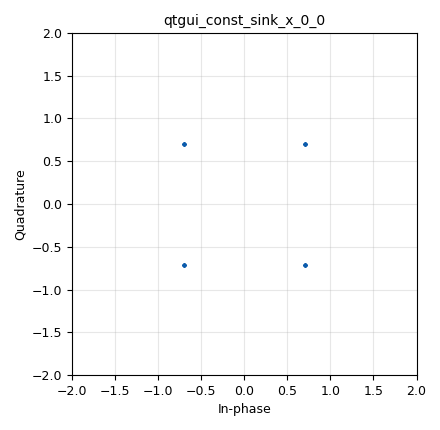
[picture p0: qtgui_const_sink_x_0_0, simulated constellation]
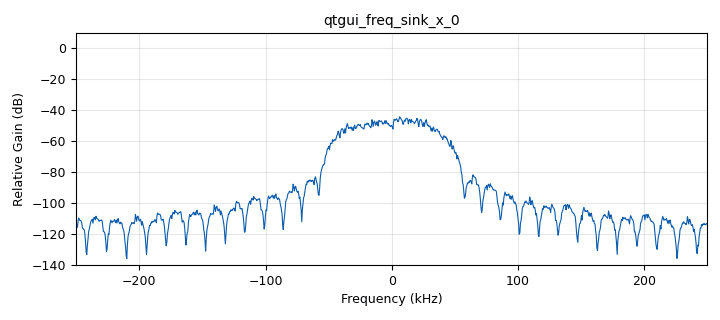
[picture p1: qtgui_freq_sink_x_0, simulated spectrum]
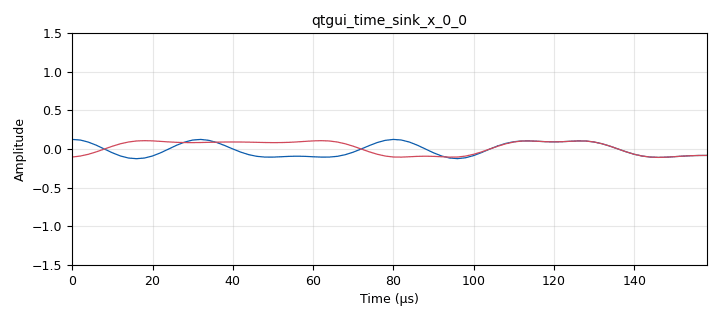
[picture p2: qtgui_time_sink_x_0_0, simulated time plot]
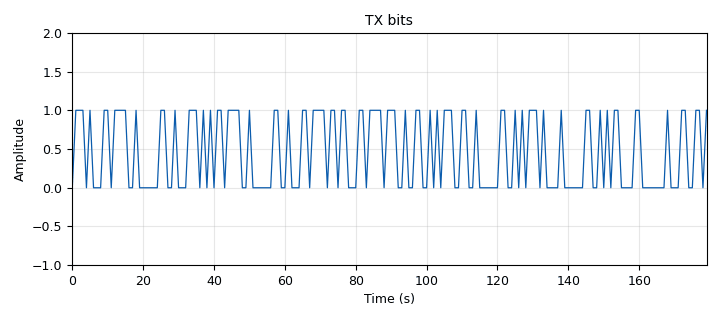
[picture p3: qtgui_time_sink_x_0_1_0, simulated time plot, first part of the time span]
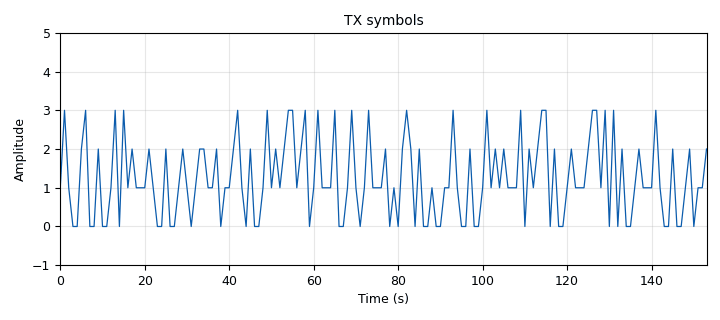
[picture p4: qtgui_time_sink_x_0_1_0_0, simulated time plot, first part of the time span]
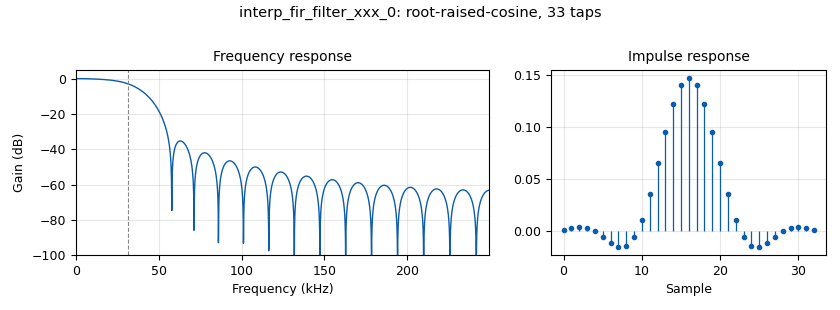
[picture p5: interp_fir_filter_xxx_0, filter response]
<?xml version='1.0' encoding='utf-8'?>
<?grc format='1' created='3.7.10'?>
<flow_graph>
<block>
<key>options</key>
<param><key>id</key><value>transceiver</value></param>
<param><key>generate_options</key><value>qt_gui</value></param>
<param><key>title</key><value>Transceiver</value></param>
</block>
<block>
<key>variable_constellation</key>
<param><key>id</key><value>constellation</value></param>
<param><key>type</key><value>dqpsk</value></param>
<param><key>precision</key><value>8</value></param>
</block>
<block>
<key>variable</key>
<param><key>id</key><value>frame_len_symbols</value></param>
<param><key>value</key><value>(payload_bytes + 4 + len(preamble_decimal))*8/constellation.bits_per_symbol()</value></param>
</block>
<block>
<key>variable_qtgui_range</key>
<param><key>id</key><value>freq_offset_slider</value></param>
<param><key>value</key><value>0</value></param>
<param><key>gui_hint</key><value>0,1,1,1</value></param>
<param><key>label</key><value>frequency offset</value></param>
<param><key>orient</key><value>Qt.Horizontal</value></param>
<param><key>start</key><value>-samp_rate/sps/2</value></param>
<param><key>step</key><value>samp_rate/sps/50</value></param>
<param><key>stop</key><value>samp_rate/sps/2</value></param>
</block>
<block>
<key>variable</key>
<param><key>id</key><value>nfft</value></param>
<param><key>value</key><value>512</value></param>
</block>
<block>
<key>variable</key>
<param><key>id</key><value>preamble_binary</value></param>
<param><key>value</key><value>''.join(["{0:08b}".format(i) for i in preamble_decimal[:4]])</value></param>
</block>
<block>
<key>variable</key>
<param><key>id</key><value>preamble_decimal</value></param>
<param><key>value</key><value>preamble_decimal_prbs</value></param>
</block>
<block>
<key>variable</key>
<param><key>id</key><value>preamble_decimal_prbs</value></param>
<param><key>value</key><value>104, 34, 59, 178, 138, 21, 94, 227, 104, 34, 59, 178, 17, 150, 5, 202, 254, 57, 65, 119, (payload_bytes+4)/256, (payload_bytes +4) % 256, (payload_bytes+4)/256, (payload_bytes +4) % 256</value></param>
</block>
<block>
<key>variable</key>
<param><key>id</key><value>preamble_decimal_test</value></param>
<param><key>value</key><value>np.random.randint(0, 256, 100)</value></param>
</block>
<block>
<key>variable</key>
<param><key>id</key><value>preamble_symbolindex</value></param>
<param><key>value</key><value>[int(preamble_binary[x:x+constellation.bits_per_symbol()], base=2) for x in range(0, len(preamble_binary), constellation.bits_per_symbol())]</value></param>
</block>
<block>
<key>variable_rrc_filter_taps</key>
<param><key>id</key><value>pulse_shape</value></param>
<param><key>alpha</key><value>rolloff</value></param>
<param><key>gain</key><value>1.0</value></param>
<param><key>ntaps</key><value>4*sps</value></param>
<param><key>samp_rate</key><value>samp_rate</value></param>
<param><key>sym_rate</key><value>samp_rate/sps</value></param>
</block>
<block>
<key>variable</key>
<param><key>id</key><value>rolloff</value></param>
<param><key>value</key><value>0.7</value></param>
</block>
<block>
<key>variable_qtgui_range</key>
<param><key>id</key><value>rx_gain_slider</value></param>
<param><key>value</key><value>0.7</value></param>
<param><key>gui_hint</key><value>0,2,1,1</value></param>
<param><key>label</key><value>RX gain</value></param>
<param><key>orient</key><value>Qt.Horizontal</value></param>
<param><key>start</key><value>0</value></param>
<param><key>step</key><value>.1</value></param>
<param><key>stop</key><value>1</value></param>
</block>
<block>
<key>variable</key>
<param><key>id</key><value>samp_rate</value></param>
<param><key>value</key><value>500e3</value></param>
</block>
<block>
<key>variable_qtgui_range</key>
<param><key>id</key><value>tx_gain_slider</value></param>
<param><key>value</key><value>0.6</value></param>
<param><key>gui_hint</key><value>0,0,1,1</value></param>
<param><key>label</key><value>TX gain</value></param>
<param><key>orient</key><value>Qt.Horizontal</value></param>
<param><key>start</key><value>0</value></param>
<param><key>step</key><value>0.1</value></param>
<param><key>stop</key><value>1</value></param>
</block>
<block>
<key>analog_random_source_x</key>
<param><key>id</key><value>analog_random_source_x_0</value></param>
<param><key>_enabled</key><value>0</value></param>
<param><key>max</key><value>256</value></param>
<param><key>min</key><value>0</value></param>
<param><key>num_samps</key><value>payload_bytes</value></param>
<param><key>type</key><value>byte</value></param>
<param><key>repeat</key><value>True</value></param>
</block>
<block>
<key>analog_sig_source_x</key>
<param><key>id</key><value>analog_sig_source_x_0</value></param>
<param><key>amp</key><value>1</value></param>
<param><key>freq</key><value>freq_offset_slider</value></param>
<param><key>offset</key><value>0</value></param>
<param><key>type</key><value>complex</value></param>
<param><key>samp_rate</key><value>samp_rate</value></param>
<param><key>waveform</key><value>analog.GR_COS_WAVE</value></param>
</block>
<block>
<key>blocks_int_to_float</key>
<param><key>id</key><value>blocks_int_to_float_0</value></param>
<param><key>scale</key><value>1</value></param>
</block>
<block>
<key>blocks_multiply_xx</key>
<param><key>id</key><value>blocks_multiply_xx_0</value></param>
<param><key>type</key><value>complex</value></param>
</block>
<block>
<key>blocks_packed_to_unpacked_xx</key>
<param><key>id</key><value>blocks_packed_to_unpacked_xx_0</value></param>
<param><key>bits_per_chunk</key><value>1</value></param>
<param><key>endianness</key><value>gr.GR_MSB_FIRST</value></param>
<param><key>type</key><value>byte</value></param>
</block>
<block>
<key>blocks_repack_bits_bb</key>
<param><key>id</key><value>blocks_repack_bits_bb_0</value></param>
<param><key>k</key><value>1</value></param>
<param><key>l</key><value>constellation.bits_per_symbol()</value></param>
<param><key>endianness</key><value>gr.GR_MSB_FIRST</value></param>
</block>
<block>
<key>blocks_stream_to_tagged_stream</key>
<param><key>id</key><value>blocks_stream_to_tagged_stream_0</value></param>
<param><key>len_tag_key</key><value>"packet_len"</value></param>
<param><key>packet_len</key><value>payload_bytes</value></param>
<param><key>type</key><value>byte</value></param>
</block>
<block>
<key>blocks_stream_to_tagged_stream</key>
<param><key>id</key><value>blocks_stream_to_tagged_stream_1</value></param>
<param><key>len_tag_key</key><value>"packet_len"</value></param>
<param><key>packet_len</key><value>payload_bytes + 4</value></param>
<param><key>type</key><value>byte</value></param>
</block>
<block>
<key>blocks_uchar_to_float</key>
<param><key>id</key><value>blocks_uchar_to_float_0</value></param>
</block>
<block>
<key>blocks_uchar_to_float</key>
<param><key>id</key><value>blocks_uchar_to_float_0_0</value></param>
</block>
<block>
<key>blocks_uchar_to_float</key>
<param><key>id</key><value>blocks_uchar_to_float_0_0_0</value></param>
</block>
<block>
<key>blocks_uchar_to_float</key>
<param><key>id</key><value>blocks_uchar_to_float_0_0_0_0</value></param>
</block>
<block>
<key>blocks_uchar_to_float</key>
<param><key>id</key><value>blocks_uchar_to_float_0_0_1</value></param>
</block>
<block>
<key>blocks_unpack_k_bits_bb</key>
<param><key>id</key><value>blocks_unpack_k_bits_bb_0</value></param>
<param><key>k</key><value>constellation.bits_per_symbol()</value></param>
</block>
<block>
<key>blocks_unpacked_to_packed_xx</key>
<param><key>id</key><value>blocks_unpacked_to_packed_xx_0</value></param>
<param><key>bits_per_chunk</key><value>1</value></param>
<param><key>endianness</key><value>gr.GR_MSB_FIRST</value></param>
<param><key>type</key><value>byte</value></param>
</block>
<block>
<key>blocks_vector_insert_x</key>
<param><key>id</key><value>blocks_vector_insert_x_0</value></param>
<param><key>offset</key><value>0</value></param>
<param><key>type</key><value>byte</value></param>
<param><key>period</key><value>payload_bytes + 4 + len(preamble_decimal)</value></param>
<param><key>vector</key><value>preamble_decimal</value></param>
</block>
<block>
<key>blocks_vector_insert_x</key>
<param><key>id</key><value>blocks_vector_insert_x_1</value></param>
<param><key>offset</key><value>int(gap*frame_len_symbols)</value></param>
<param><key>type</key><value>complex</value></param>
<param><key>period</key><value>frame_len_symbols + int(gap*frame_len_symbols)</value></param>
<param><key>vector</key><value>np.zeros(int(gap*frame_len_symbols))</value></param>
</block>
<block>
<key>blocks_vector_source_x</key>
<param><key>id</key><value>blocks_vector_source_x_0</value></param>
<param><key>type</key><value>byte</value></param>
<param><key>repeat</key><value>True</value></param>
<param><key>vector</key><value>[ord(i) for i in text]</value></param>
</block>
<block>
<key>digital_chunks_to_symbols_xx</key>
<param><key>id</key><value>digital_chunks_to_symbols_xx_0</value></param>
<param><key>dimension</key><value>1</value></param>
<param><key>in_type</key><value>byte</value></param>
<param><key>out_type</key><value>complex</value></param>
<param><key>symbol_table</key><value>constellation.points()</value></param>
</block>
<block>
<key>digital_constellation_decoder_cb</key>
<param><key>id</key><value>digital_constellation_decoder_cb_0</value></param>
<param><key>constellation</key><value>constellation</value></param>
</block>
<block>
<key>digital_correlate_access_code_xx_ts</key>
<param><key>id</key><value>digital_correlate_access_code_xx_ts_0</value></param>
<param><key>access_code</key><value>''.join(["{0:08b}".format(i) for i in preamble_decimal[16:20]])</value></param>
<param><key>type</key><value>byte</value></param>
<param><key>tagname</key><value>"frame_start"</value></param>
<param><key>threshold</key><value>0</value></param>
</block>
<block>
<key>digital_costas_loop_cc</key>
<param><key>id</key><value>digital_costas_loop_cc_0</value></param>
<param><key>w</key><value>2*np.pi/1000</value></param>
<param><key>order</key><value>len(constellation.points())</value></param>
</block>
<block>
<key>digital_crc32_bb</key>
<param><key>id</key><value>digital_crc32_bb_0</value></param>
<param><key>lengthtagname</key><value>"packet_len"</value></param>
<param><key>check</key><value>False</value></param>
<param><key>packed</key><value>True</value></param>
</block>
<block>
<key>digital_crc32_bb</key>
<param><key>id</key><value>digital_crc32_bb_0_0</value></param>
<param><key>lengthtagname</key><value>"packet_len"</value></param>
<param><key>check</key><value>True</value></param>
<param><key>packed</key><value>True</value></param>
</block>
<block>
<key>digital_diff_decoder_bb</key>
<param><key>id</key><value>digital_diff_decoder_bb_0</value></param>
<param><key>modulus</key><value>len(constellation.points())</value></param>
</block>
<block>
<key>digital_diff_encoder_bb</key>
<param><key>id</key><value>digital_diff_encoder_bb_0</value></param>
<param><key>modulus</key><value>len(constellation.points())</value></param>
</block>
<block>
<key>digital_fll_band_edge_cc</key>
<param><key>id</key><value>digital_fll_band_edge_cc_0</value></param>
<param><key>rolloff</key><value>rolloff</value></param>
<param><key>w</key><value>2*np.pi/1000</value></param>
<param><key>filter_size</key><value>len(pulse_shape)</value></param>
<param><key>samps_per_sym</key><value>sps</value></param>
<param><key>type</key><value>cc</value></param>
</block>
<block>
<key>parameter</key>
<param><key>id</key><value>gap</value></param>
<param><key>label</key><value>gap</value></param>
<param><key>type</key><value>eng_float</value></param>
<param><key>value</key><value>0</value></param>
</block>
<block>
<key>import</key>
<param><key>id</key><value>import_0</value></param>
<param><key>import</key><value>from gnuradio import filter</value></param>
</block>
<block>
<key>import</key>
<param><key>id</key><value>import_np</value></param>
<param><key>import</key><value>import numpy as np</value></param>
</block>
<block>
<key>interp_fir_filter_xxx</key>
<param><key>id</key><value>interp_fir_filter_xxx_0</value></param>
<param><key>interp</key><value>sps</value></param>
<param><key>taps</key><value>pulse_shape</value></param>
<param><key>type</key><value>ccf</value></param>
</block>
<block>
<key>interp_fir_filter_xxx</key>
<param><key>id</key><value>interp_fir_filter_xxx_1</value></param>
<param><key>interp</key><value>1</value></param>
<param><key>taps</key><value>pulse_shape</value></param>
<param><key>type</key><value>ccf</value></param>
</block>
<block>
<key>parameter</key>
<param><key>id</key><value>payload_bytes</value></param>
<param><key>type</key><value>intx</value></param>
<param><key>value</key><value>64</value></param>
</block>
<block>
<key>qtgui_const_sink_x</key>
<param><key>id</key><value>qtgui_const_sink_x_0</value></param>
<param><key>gui_hint</key><value>tab@3:0,0,1,1</value></param>
<param><key>alpha1</key><value>0.5</value></param>
<param><key>size</key><value>128</value></param>
<param><key>type</key><value>complex</value></param>
</block>
<block>
<key>qtgui_const_sink_x</key>
<param><key>id</key><value>qtgui_const_sink_x_0_0</value></param>
<param><key>gui_hint</key><value>tab@0:0,2,1,1</value></param>
<param><key>alpha1</key><value>0.5</value></param>
<param><key>size</key><value>128</value></param>
<param><key>type</key><value>complex</value></param>
</block>
<block>
<key>qtgui_const_sink_x</key>
<param><key>id</key><value>qtgui_const_sink_x_1</value></param>
<param><key>gui_hint</key><value>tab@4:0,0,1,1</value></param>
<param><key>alpha1</key><value>0.5</value></param>
<param><key>size</key><value>256</value></param>
<param><key>type</key><value>complex</value></param>
</block>
<block>
<key>qtgui_freq_sink_x</key>
<param><key>id</key><value>qtgui_freq_sink_x_0</value></param>
<param><key>average</key><value>0.1</value></param>
<param><key>bw</key><value>samp_rate</value></param>
<param><key>fc</key><value>0</value></param>
<param><key>fftsize</key><value>1024</value></param>
<param><key>gui_hint</key><value>tab@0:0,1,1,1</value></param>
<param><key>showports</key><value>True</value></param>
<param><key>type</key><value>complex</value></param>
<param><key>wintype</key><value>firdes.WIN_BLACKMAN_hARRIS</value></param>
</block>
<block>
<key>qtgui_freq_sink_x</key>
<param><key>id</key><value>qtgui_freq_sink_x_0_1</value></param>
<param><key>average</key><value>0.1</value></param>
<param><key>bw</key><value>samp_rate</value></param>
<param><key>fc</key><value>0</value></param>
<param><key>fftsize</key><value>1024</value></param>
<param><key>gui_hint</key><value>tab@2:0,1,1,1</value></param>
<param><key>name</key><value>"After correction"</value></param>
<param><key>showports</key><value>True</value></param>
<param><key>type</key><value>complex</value></param>
<param><key>wintype</key><value>firdes.WIN_BLACKMAN_hARRIS</value></param>
</block>
<block>
<key>qtgui_freq_sink_x</key>
<param><key>id</key><value>qtgui_freq_sink_x_0_1_0</value></param>
<param><key>average</key><value>0.1</value></param>
<param><key>bw</key><value>nfft</value></param>
<param><key>fc</key><value>0</value></param>
<param><key>fftsize</key><value>nfft</value></param>
<param><key>gui_hint</key><value>tab@3:0,1,1,1</value></param>
<param><key>showports</key><value>True</value></param>
<param><key>type</key><value>float</value></param>
<param><key>wintype</key><value>firdes.WIN_BLACKMAN_hARRIS</value></param>
</block>
<block>
<key>qtgui_freq_sink_x</key>
<param><key>id</key><value>qtgui_freq_sink_x_0_1_1</value></param>
<param><key>average</key><value>0.1</value></param>
<param><key>bw</key><value>samp_rate</value></param>
<param><key>fc</key><value>0</value></param>
<param><key>fftsize</key><value>1024</value></param>
<param><key>gui_hint</key><value>tab@2:0,0,1,1</value></param>
<param><key>name</key><value>"Before correction"</value></param>
<param><key>showports</key><value>True</value></param>
<param><key>type</key><value>complex</value></param>
<param><key>wintype</key><value>firdes.WIN_BLACKMAN_hARRIS</value></param>
</block>
<block>
<key>qtgui_time_sink_x</key>
<param><key>id</key><value>qtgui_time_sink_x_0</value></param>
<param><key>gui_hint</key><value>tab@5:2,0,1,2</value></param>
<param><key>color1</key><value>"blue"</value></param>
<param><key>label1</key><value></value></param>
<param><key>name</key><value>"RX bits out"</value></param>
<param><key>size</key><value>(payload_bytes+4)*8</value></param>
<param><key>srate</key><value>1</value></param>
<param><key>tr_tag</key><value></value></param>
<param><key>type</key><value>float</value></param>
<param><key>ymax</key><value>2</value></param>
</block>
<block>
<key>qtgui_time_sink_x</key>
<param><key>id</key><value>qtgui_time_sink_x_0_0</value></param>
<param><key>gui_hint</key><value>tab@0:0,0,1,1</value></param>
<param><key>legend</key><value>False</value></param>
<param><key>color1</key><value>"blue"</value></param>
<param><key>label1</key><value></value></param>
<param><key>color2</key><value>"red"</value></param>
<param><key>label2</key><value></value></param>
<param><key>size</key><value>sps*10</value></param>
<param><key>srate</key><value>samp_rate</value></param>
<param><key>tr_level</key><value>1.0</value></param>
<param><key>type</key><value>complex</value></param>
<param><key>ymax</key><value>1.5</value></param>
<param><key>ymin</key><value>-1.5</value></param>
</block>
<block>
<key>qtgui_time_sink_x</key>
<param><key>id</key><value>qtgui_time_sink_x_0_0_0</value></param>
<param><key>gui_hint</key><value>tab@1:0,0,1,1</value></param>
<param><key>legend</key><value>False</value></param>
<param><key>color1</key><value>"blue"</value></param>
<param><key>label1</key><value></value></param>
<param><key>color2</key><value>"red"</value></param>
<param><key>label2</key><value></value></param>
<param><key>size</key><value>sps*10</value></param>
<param><key>srate</key><value>samp_rate</value></param>
<param><key>tr_level</key><value>1.0</value></param>
<param><key>type</key><value>complex</value></param>
<param><key>ymax</key><value>1.5</value></param>
<param><key>ymin</key><value>-1.5</value></param>
</block>
<block>
<key>qtgui_time_sink_x</key>
<param><key>id</key><value>qtgui_time_sink_x_0_1</value></param>
<param><key>gui_hint</key><value>tab@5:0,1,1,1</value></param>
<param><key>color1</key><value>"blue"</value></param>
<param><key>label1</key><value></value></param>
<param><key>name</key><value>"RX bits in"</value></param>
<param><key>size</key><value>(frame_len_symbols+int(gap*frame_len_symbols))*constellation.bits_per_symbol()</value></param>
<param><key>srate</key><value>1</value></param>
<param><key>tr_tag</key><value>"frame_start"</value></param>
<param><key>type</key><value>float</value></param>
<param><key>ymax</key><value>2</value></param>
</block>
<block>
<key>qtgui_time_sink_x</key>
<param><key>id</key><value>qtgui_time_sink_x_0_1_0</value></param>
<param><key>gui_hint</key><value>tab@5:0,0,1,1</value></param>
<param><key>color1</key><value>"blue"</value></param>
<param><key>label1</key><value></value></param>
<param><key>name</key><value>"TX bits"</value></param>
<param><key>size</key><value>frame_len_symbols*constellation.bits_per_symbol()</value></param>
<param><key>srate</key><value>1</value></param>
<param><key>tr_tag</key><value>"frame_start"</value></param>
<param><key>type</key><value>float</value></param>
<param><key>ymax</key><value>2</value></param>
</block>
<block>
<key>qtgui_time_sink_x</key>
<param><key>id</key><value>qtgui_time_sink_x_0_1_0_0</value></param>
<param><key>gui_hint</key><value>tab@5:1,0,1,1</value></param>
<param><key>color1</key><value>"blue"</value></param>
<param><key>label1</key><value></value></param>
<param><key>name</key><value>"TX symbols"</value></param>
<param><key>size</key><value>frame_len_symbols</value></param>
<param><key>srate</key><value>1</value></param>
<param><key>tr_tag</key><value>"frame_start"</value></param>
<param><key>type</key><value>float</value></param>
<param><key>ymax</key><value>len(constellation.points())+1</value></param>
</block>
<block>
<key>qtgui_time_sink_x</key>
<param><key>id</key><value>qtgui_time_sink_x_0_1_1</value></param>
<param><key>gui_hint</key><value>tab@5:1,1,1,1</value></param>
<param><key>color1</key><value>"blue"</value></param>
<param><key>label1</key><value></value></param>
<param><key>name</key><value>"RX symbols in"</value></param>
<param><key>size</key><value>(frame_len_symbols+int(gap*frame_len_symbols))</value></param>
<param><key>srate</key><value>1</value></param>
<param><key>tr_tag</key><value>"frame_start"</value></param>
<param><key>type</key><value>float</value></param>
<param><key>ymax</key><value>len(constellation.points()) + 1</value></param>
</block>
<block>
<key>qtgui_time_sink_x</key>
<param><key>id</key><value>qtgui_time_sink_x_1</value></param>
<param><key>gui_hint</key><value>tab@3:1,1,1,1</value></param>
<param><key>color1</key><value>"blue"</value></param>
<param><key>label1</key><value></value></param>
<param><key>name</key><value>"Phase of 1/T bin"</value></param>
<param><key>size</key><value>10000</value></param>
<param><key>srate</key><value>samp_rate/nfft</value></param>
<param><key>type</key><value>float</value></param>
<param><key>ymax</key><value>2*np.pi</value></param>
<param><key>ymin</key><value>-2*np.pi</value></param>
</block>
<block>
<key>qtgui_time_sink_x</key>
<param><key>id</key><value>qtgui_time_sink_x_1_0</value></param>
<param><key>gui_hint</key><value>tab@3:1,0,1,1</value></param>
<param><key>color1</key><value>"blue"</value></param>
<param><key>label1</key><value></value></param>
<param><key>name</key><value>"Index"</value></param>
<param><key>size</key><value>10000</value></param>
<param><key>srate</key><value>samp_rate/nfft</value></param>
<param><key>type</key><value>float</value></param>
<param><key>ymax</key><value>sps</value></param>
</block>
<block>
<key>qtgui_waterfall_sink_x</key>
<param><key>id</key><value>qtgui_waterfall_sink_x_0</value></param>
<param><key>bw</key><value>samp_rate</value></param>
<param><key>fc</key><value>0</value></param>
<param><key>fftsize</key><value>1024</value></param>
<param><key>gui_hint</key><value>tab@1:0,1,1,1</value></param>
<param><key>showports</key><value>True</value></param>
<param><key>type</key><value>complex</value></param>
<param><key>wintype</key><value>firdes.WIN_BLACKMAN_hARRIS</value></param>
</block>
<block>
<key>parameter</key>
<param><key>id</key><value>sps</value></param>
<param><key>label</key><value>samples per symbol</value></param>
<param><key>type</key><value>intx</value></param>
<param><key>value</key><value>8</value></param>
</block>
<block>
<key>square_timing_recovery</key>
<param><key>id</key><value>square_timing_recovery_0</value></param>
<param><key>nfft</key><value>nfft</value></param>
<param><key>sps</key><value>sps</value></param>
</block>
<block>
<key>qtgui_tab_widget</key>
<param><key>id</key><value>tab</value></param>
<param><key>gui_hint</key><value>1,0,1,3</value></param>
<param><key>label0</key><value>TX</value></param>
<param><key>label1</key><value>RX</value></param>
<param><key>label2</key><value>Frequency Synchronization</value></param>
<param><key>label3</key><value>Timing Synchronization</value></param>
<param><key>label4</key><value>Phase Synchronization</value></param>
<param><key>label5</key><value>Data</value></param>
<param><key>num_tabs</key><value>6</value></param>
</block>
<block>
<key>parameter</key>
<param><key>id</key><value>text</value></param>
<param><key>label</key><value>text</value></param>
<param><key>value</key><value>"Lorem ipsum dolor sit amet, consetetur sadipscing elitr, sed diam nonumy eirmod tempor invidunt ut labore et dolore magna aliquyam erat, sed diam voluptua. At vero eos et accusam et justo duo dolores et ea rebum. Stet clita kasd gubergren, no sea takimata sanctus est Lorem ipsum dolor sit amet. Lorem ipsum dolor sit amet, consetetur sadipscing elitr, sed diam nonumy eirmod tempor invidunt ut labore et dolore magna aliquyam erat, sed diam voluptua. At vero eos et accusam et justo duo dolores et ea rebum. Stet clita kasd gubergren, no sea takimata sanctus est Lorem ipsum dolor sit amet."</value></param>
</block>
<block>
<key>uhd_usrp_sink</key>
<param><key>id</key><value>uhd_usrp_sink_0</value></param>
<param><key>ant0</key><value>TX/RX</value></param>
<param><key>center_freq0</key><value>2.3e9</value></param>
<param><key>norm_gain0</key><value>True</value></param>
<param><key>gain0</key><value>tx_gain_slider</value></param>
<param><key>clock_rate</key><value>0.0</value></param>
<param><key>dev_addr</key><value>"serial=E5R04ZEBT"</value></param>
<param><key>dev_args</key><value>""</value></param>
<param><key>type</key><value>fc32</value></param>
<param><key>sd_spec0</key><value>A:A</value></param>
<param><key>samp_rate</key><value>samp_rate</value></param>
<param><key>hide_cmd_port</key><value>False</value></param>
<param><key>hide_lo_controls</key><value>True</value></param>
<param><key>sync</key><value></value></param>
<param><key>len_tag_name</key><value></value></param>
</block>
<block>
<key>uhd_usrp_source</key>
<param><key>id</key><value>uhd_usrp_source_0</value></param>
<param><key>ant0</key><value>RX2</value></param>
<param><key>center_freq0</key><value>2.3e9</value></param>
<param><key>dc_offs_enb0</key><value>""</value></param>
<param><key>iq_imbal_enb0</key><value>""</value></param>
<param><key>norm_gain0</key><value>True</value></param>
<param><key>gain0</key><value>rx_gain_slider</value></param>
<param><key>clock_rate</key><value>0.0</value></param>
<param><key>dev_addr</key><value>"serial=E5R04ZEBT"</value></param>
<param><key>dev_args</key><value>""</value></param>
<param><key>sd_spec0</key><value>A:B</value></param>
<param><key>type</key><value>fc32</value></param>
<param><key>samp_rate</key><value>samp_rate</value></param>
<param><key>hide_cmd_port</key><value>False</value></param>
<param><key>hide_lo_controls</key><value>True</value></param>
<param><key>sync</key><value></value></param>
</block>
<block>
<key>virtual_sink</key>
<param><key>id</key><value>virtual_sink_2</value></param>
<param><key>stream_id</key><value>freqsync</value></param>
</block>
<block>
<key>virtual_sink</key>
<param><key>id</key><value>virtual_sink_3</value></param>
<param><key>stream_id</key><value>timesync</value></param>
</block>
<block>
<key>virtual_sink</key>
<param><key>id</key><value>virtual_sink_4</value></param>
<param><key>stream_id</key><value>demod</value></param>
</block>
<block>
<key>virtual_source</key>
<param><key>id</key><value>virtual_source_2</value></param>
<param><key>stream_id</key><value>freqsync</value></param>
</block>
<block>
<key>virtual_source</key>
<param><key>id</key><value>virtual_source_3</value></param>
<param><key>stream_id</key><value>timesync</value></param>
</block>
<block>
<key>virtual_source</key>
<param><key>id</key><value>virtual_source_4</value></param>
<param><key>stream_id</key><value>demod</value></param>
</block>
<block>
<key>epy_block</key>
<param><key>id</key><value>write_to_console</value></param>
<param><key>_source_code</key><value>"""
Embedded Python Blocks:

Each time this file is saved, GRC will instantiate the first class it finds
to get ports and parameters of your block. The arguments to __init__  will
be the parameters. All of them are required to have default values!
"""

import numpy as np
from gnuradio import gr


class blk(gr.sync_block):  # other base classes are basic_block, decim_block, interp_block
    """Embedded Python Block example - a simple multiply const"""

    def __init__(self):  # only default arguments here
        """arguments to this function show up as parameters in GRC"""
        gr.sync_block.__init__(
            self,
            name='Print to console',   # will show up in GRC
            in_sig=[np.uint8], out_sig=None
        )

    def work(self, input_items, output_items):
        """example: multiply with constant"""
        print(''.join(chr(i) for i in input_items[0]))
        return len(input_items[0])
</value></param>
</block>
<connection><source_block_id>analog_random_source_x_0</source_block_id><sink_block_id>blocks_stream_to_tagged_stream_0</sink_block_id><source_key>0</source_key><sink_key>0</sink_key></connection>
<connection><source_block_id>analog_sig_source_x_0</source_block_id><sink_block_id>blocks_multiply_xx_0</sink_block_id><source_key>0</source_key><sink_key>0</sink_key></connection>
<connection><source_block_id>blocks_int_to_float_0</source_block_id><sink_block_id>qtgui_time_sink_x_1_0</sink_block_id><source_key>0</source_key><sink_key>0</sink_key></connection>
<connection><source_block_id>blocks_multiply_xx_0</source_block_id><sink_block_id>uhd_usrp_sink_0</sink_block_id><source_key>0</source_key><sink_key>0</sink_key></connection>
<connection><source_block_id>blocks_packed_to_unpacked_xx_0</source_block_id><sink_block_id>blocks_repack_bits_bb_0</sink_block_id><source_key>0</source_key><sink_key>0</sink_key></connection>
<connection><source_block_id>blocks_packed_to_unpacked_xx_0</source_block_id><sink_block_id>blocks_uchar_to_float_0_0_0</sink_block_id><source_key>0</source_key><sink_key>0</sink_key></connection>
<connection><source_block_id>blocks_repack_bits_bb_0</source_block_id><sink_block_id>blocks_uchar_to_float_0_0_0_0</sink_block_id><source_key>0</source_key><sink_key>0</sink_key></connection>
<connection><source_block_id>blocks_repack_bits_bb_0</source_block_id><sink_block_id>digital_diff_encoder_bb_0</sink_block_id><source_key>0</source_key><sink_key>0</sink_key></connection>
<connection><source_block_id>blocks_stream_to_tagged_stream_0</source_block_id><sink_block_id>digital_crc32_bb_0</sink_block_id><source_key>0</source_key><sink_key>0</sink_key></connection>
<connection><source_block_id>blocks_stream_to_tagged_stream_1</source_block_id><sink_block_id>digital_crc32_bb_0_0</sink_block_id><source_key>0</source_key><sink_key>0</sink_key></connection>
<connection><source_block_id>blocks_uchar_to_float_0</source_block_id><sink_block_id>qtgui_time_sink_x_0</sink_block_id><source_key>0</source_key><sink_key>0</sink_key></connection>
<connection><source_block_id>blocks_uchar_to_float_0_0</source_block_id><sink_block_id>qtgui_time_sink_x_0_1</sink_block_id><source_key>0</source_key><sink_key>0</sink_key></connection>
<connection><source_block_id>blocks_uchar_to_float_0_0_0</source_block_id><sink_block_id>qtgui_time_sink_x_0_1_0</sink_block_id><source_key>0</source_key><sink_key>0</sink_key></connection>
<connection><source_block_id>blocks_uchar_to_float_0_0_0_0</source_block_id><sink_block_id>qtgui_time_sink_x_0_1_0_0</sink_block_id><source_key>0</source_key><sink_key>0</sink_key></connection>
<connection><source_block_id>blocks_uchar_to_float_0_0_1</source_block_id><sink_block_id>qtgui_time_sink_x_0_1_1</sink_block_id><source_key>0</source_key><sink_key>0</sink_key></connection>
<connection><source_block_id>blocks_unpack_k_bits_bb_0</source_block_id><sink_block_id>blocks_uchar_to_float_0_0</sink_block_id><source_key>0</source_key><sink_key>0</sink_key></connection>
<connection><source_block_id>blocks_unpack_k_bits_bb_0</source_block_id><sink_block_id>digital_correlate_access_code_xx_ts_0</sink_block_id><source_key>0</source_key><sink_key>0</sink_key></connection>
<connection><source_block_id>blocks_unpacked_to_packed_xx_0</source_block_id><sink_block_id>blocks_stream_to_tagged_stream_1</sink_block_id><source_key>0</source_key><sink_key>0</sink_key></connection>
<connection><source_block_id>blocks_vector_insert_x_0</source_block_id><sink_block_id>blocks_packed_to_unpacked_xx_0</sink_block_id><source_key>0</source_key><sink_key>0</sink_key></connection>
<connection><source_block_id>blocks_vector_insert_x_1</source_block_id><sink_block_id>interp_fir_filter_xxx_0</sink_block_id><source_key>0</source_key><sink_key>0</sink_key></connection>
<connection><source_block_id>blocks_vector_source_x_0</source_block_id><sink_block_id>blocks_stream_to_tagged_stream_0</sink_block_id><source_key>0</source_key><sink_key>0</sink_key></connection>
<connection><source_block_id>digital_chunks_to_symbols_xx_0</source_block_id><sink_block_id>blocks_vector_insert_x_1</sink_block_id><source_key>0</source_key><sink_key>0</sink_key></connection>
<connection><source_block_id>digital_chunks_to_symbols_xx_0</source_block_id><sink_block_id>qtgui_const_sink_x_0_0</sink_block_id><source_key>0</source_key><sink_key>0</sink_key></connection>
<connection><source_block_id>digital_constellation_decoder_cb_0</source_block_id><sink_block_id>digital_diff_decoder_bb_0</sink_block_id><source_key>0</source_key><sink_key>0</sink_key></connection>
<connection><source_block_id>digital_correlate_access_code_xx_ts_0</source_block_id><sink_block_id>blocks_uchar_to_float_0</sink_block_id><source_key>0</source_key><sink_key>0</sink_key></connection>
<connection><source_block_id>digital_correlate_access_code_xx_ts_0</source_block_id><sink_block_id>blocks_unpacked_to_packed_xx_0</sink_block_id><source_key>0</source_key><sink_key>0</sink_key></connection>
<connection><source_block_id>digital_costas_loop_cc_0</source_block_id><sink_block_id>qtgui_const_sink_x_1</sink_block_id><source_key>0</source_key><sink_key>0</sink_key></connection>
<connection><source_block_id>digital_costas_loop_cc_0</source_block_id><sink_block_id>virtual_sink_4</sink_block_id><source_key>0</source_key><sink_key>0</sink_key></connection>
<connection><source_block_id>digital_crc32_bb_0</source_block_id><sink_block_id>blocks_vector_insert_x_0</sink_block_id><source_key>0</source_key><sink_key>0</sink_key></connection>
<connection><source_block_id>digital_crc32_bb_0_0</source_block_id><sink_block_id>write_to_console</sink_block_id><source_key>0</source_key><sink_key>0</sink_key></connection>
<connection><source_block_id>digital_diff_decoder_bb_0</source_block_id><sink_block_id>blocks_uchar_to_float_0_0_1</sink_block_id><source_key>0</source_key><sink_key>0</sink_key></connection>
<connection><source_block_id>digital_diff_decoder_bb_0</source_block_id><sink_block_id>blocks_unpack_k_bits_bb_0</sink_block_id><source_key>0</source_key><sink_key>0</sink_key></connection>
<connection><source_block_id>digital_diff_encoder_bb_0</source_block_id><sink_block_id>digital_chunks_to_symbols_xx_0</sink_block_id><source_key>0</source_key><sink_key>0</sink_key></connection>
<connection><source_block_id>digital_fll_band_edge_cc_0</source_block_id><sink_block_id>qtgui_freq_sink_x_0_1</sink_block_id><source_key>0</source_key><sink_key>0</sink_key></connection>
<connection><source_block_id>digital_fll_band_edge_cc_0</source_block_id><sink_block_id>virtual_sink_2</sink_block_id><source_key>0</source_key><sink_key>0</sink_key></connection>
<connection><source_block_id>interp_fir_filter_xxx_0</source_block_id><sink_block_id>blocks_multiply_xx_0</sink_block_id><source_key>0</source_key><sink_key>1</sink_key></connection>
<connection><source_block_id>interp_fir_filter_xxx_0</source_block_id><sink_block_id>qtgui_freq_sink_x_0</sink_block_id><source_key>0</source_key><sink_key>0</sink_key></connection>
<connection><source_block_id>interp_fir_filter_xxx_0</source_block_id><sink_block_id>qtgui_time_sink_x_0_0</sink_block_id><source_key>0</source_key><sink_key>0</sink_key></connection>
<connection><source_block_id>interp_fir_filter_xxx_1</source_block_id><sink_block_id>square_timing_recovery_0</sink_block_id><source_key>0</source_key><sink_key>0</sink_key></connection>
<connection><source_block_id>square_timing_recovery_0</source_block_id><sink_block_id>blocks_int_to_float_0</sink_block_id><source_key>2</source_key><sink_key>0</sink_key></connection>
<connection><source_block_id>square_timing_recovery_0</source_block_id><sink_block_id>qtgui_time_sink_x_1</sink_block_id><source_key>3</source_key><sink_key>0</sink_key></connection>
<connection><source_block_id>square_timing_recovery_0</source_block_id><sink_block_id>qtgui_freq_sink_x_0_1_0</sink_block_id><source_key>1</source_key><sink_key>0</sink_key></connection>
<connection><source_block_id>square_timing_recovery_0</source_block_id><sink_block_id>qtgui_const_sink_x_0</sink_block_id><source_key>0</source_key><sink_key>0</sink_key></connection>
<connection><source_block_id>square_timing_recovery_0</source_block_id><sink_block_id>virtual_sink_3</sink_block_id><source_key>0</source_key><sink_key>0</sink_key></connection>
<connection><source_block_id>uhd_usrp_source_0</source_block_id><sink_block_id>digital_fll_band_edge_cc_0</sink_block_id><source_key>0</source_key><sink_key>0</sink_key></connection>
<connection><source_block_id>uhd_usrp_source_0</source_block_id><sink_block_id>qtgui_freq_sink_x_0_1_1</sink_block_id><source_key>0</source_key><sink_key>0</sink_key></connection>
<connection><source_block_id>uhd_usrp_source_0</source_block_id><sink_block_id>qtgui_time_sink_x_0_0_0</sink_block_id><source_key>0</source_key><sink_key>0</sink_key></connection>
<connection><source_block_id>uhd_usrp_source_0</source_block_id><sink_block_id>qtgui_waterfall_sink_x_0</sink_block_id><source_key>0</source_key><sink_key>0</sink_key></connection>
<connection><source_block_id>virtual_source_2</source_block_id><sink_block_id>interp_fir_filter_xxx_1</sink_block_id><source_key>0</source_key><sink_key>0</sink_key></connection>
<connection><source_block_id>virtual_source_3</source_block_id><sink_block_id>digital_costas_loop_cc_0</sink_block_id><source_key>0</source_key><sink_key>0</sink_key></connection>
<connection><source_block_id>virtual_source_4</source_block_id><sink_block_id>digital_constellation_decoder_cb_0</sink_block_id><source_key>0</source_key><sink_key>0</sink_key></connection>
</flow_graph>
